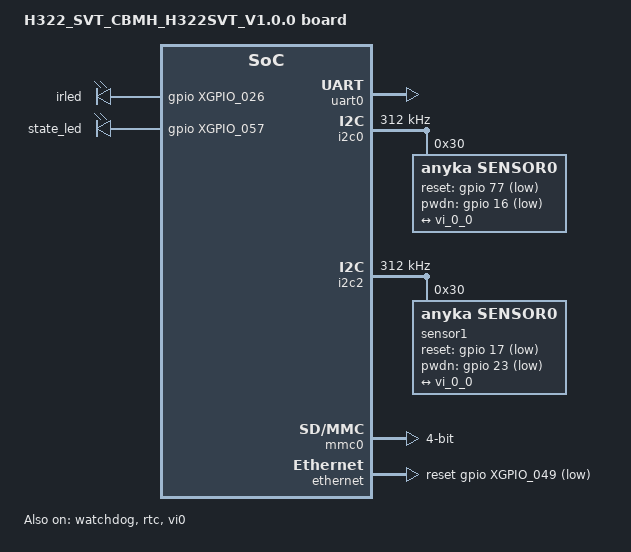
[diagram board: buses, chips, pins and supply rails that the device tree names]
/*
 * Anycloud37e dev board dts
 *
 * Copyright (C) 2020 Anyka(Guangzhou) Microelectronics Technology Co., Ltd.
 *
 * This program is free software; you can redistribute it and/or modify
 * it under the terms of the GNU General Public License as published by
 * the Free Software Foundation; either version 2 of the License, or
 * (at your option) any later version.
 *
 * This program is distributed in the hope that it will be useful,
 * but WITHOUT ANY WARRANTY; without even the implied warranty of
 * MERCHANTABILITY or FITNESS FOR A PARTICULAR PURPOSE.  See the
 * GNU General Public License for more details.
 */

/dts-v1/;
#include "anycloud_ak3918av100x.dtsi"
#include "anycloud_norflash.dtsi"
#include "anycloud_nandflash.dtsi"

/ {
    compatible = "anyka,ak3918av100";
    model = "H322_SVT_CBMH_H322SVT_V1.0.0 board";
    version = "V1.0.00";
};

&gpio {
    /*
    * "anyka,function": func index, please refer to dt-bindings/pinctrl/ak3918av100_pinctrl.h
    * "anyka,pull": configuration of the pins
    * bit[7:0]: pull up/down configuration
    *     bit[0]: pull up or pull down selection, 1 means select pull down, 0 means select pull up
    *     bit[4]: pull up or pull down enable, 1 means enable pull up&down function, 0 means disable fuction
    * !!! Notice that not all pin support pull up and pull down. Please refer to the programer's guide.
    * bit[11:8]: driver strength configuration.
    *     bit[9:8] drive strength.
    * bit[12:15] gpio direction
    *     bit[12]: direction. 0 is output, 1 is input
    *     bit[15]: enable direction. 1 is enable
    * bit[19:16]: input enable configuration
    *     bit[16]: 1 means enable input, 0 means disable input.
    * bit[20-23]: gpio output level
    *     bit[20]: 0 is low level, 1 is high level
    *     bit[23]: enable gpio output level. 1 is enable
    * bit[31:24]: pin slew rate configuration
    *     bit[24]: 1 means enable slew rate, 0 means disable slew rate.
    * !!! Notice OTHER bits which not mentioned please set to 0.
    */

    i2c0_pins: i2c0_pins {
        anyka,pins = <XGPIO_020 XGPIO_021>;
        anyka,function = <XGPIO_020_FUNC_TWI0_SDA XGPIO_021_FUNC_TWI0_SCL>;
        anyka,pull = <0x1010010>;
    };

    i2c2_pins: i2c2_pins {
        anyka,pins = <XGPIO_018 XGPIO_019>;
        anyka,function = <XGPIO_018_FUNC_TWI2_SCL XGPIO_019_FUNC_TWI2_SDA>;
        anyka,pull = <0x1010010>;
    };

    i2s_pins: i2s_pins {
        anyka,pins = <XGPIO_063
                        XGPIO_060
                        XGPIO_061
                        XGPIO_062
                        XGPIO_064>;
        anyka,function = <XGPIO_063_FUNC_I2S_DOUT
                            XGPIO_060_FUNC_I2S_MCLK
                            XGPIO_061_FUNC_I2S_BCLK
                            XGPIO_062_FUNC_I2S_LRCLK
                            XGPIO_064_FUNC_I2S_DIN>;
        anyka,pull = <0x01010000>;
    };

    ethernet_rmii0_rst_pins: ethernet_rmii0_rst_pins {
        anyka,pins = <XGPIO_064>;
        anyka,function = <XGPIO_064_FUNC_GPIO64>;
        anyka,pull = <0x00010010>;
    };

    dvp0_12bits_pins: dvp0_12bits_pins {
        anyka,pins = <XGPIO_022
                         XGPIO_100
                         XGPIO_009
                         XGPIO_010
                         XGPIO_075
                         XGPIO_073
                         XGPIO_074
                         XGPIO_020
                         XGPIO_072
                         XGPIO_079
                         XGPIO_078
                         XGPIO_099
                         XGPIO_102
                         XGPIO_101
                         XGPIO_103
                         XGPIO_104>;
        anyka,function = <XGPIO_022_FUNC_CSI0_SCLK
                            XGPIO_100_FUNC_CSI_CLK
                            XGPIO_009_FUNC_CSI_HSYNC
                            XGPIO_010_FUNC_CSI_VSYNC
                            XGPIO_075_FUNC_CSI_D0
                            XGPIO_073_FUNC_CSI_D1
                            XGPIO_074_FUNC_CSI_D2
                            XGPIO_020_FUNC_CSI_D3
                            XGPIO_072_FUNC_CSI_D4
                            XGPIO_079_FUNC_CSI_D5
                            XGPIO_078_FUNC_CSI_D6
                            XGPIO_099_FUNC_CSI_D7
                            XGPIO_102_FUNC_CSI_D8
                            XGPIO_101_FUNC_CSI_D9
                            XGPIO_103_FUNC_CSI_D10
                            XGPIO_104_FUNC_CSI_D11>;
        anyka,pull = <0x01010010>;
    };

    dvp0_10bits_pins: dvp0_10bits_pins {
        anyka,pins = <XGPIO_022
                         XGPIO_100
                         XGPIO_009
                         XGPIO_010
                         XGPIO_075
                         XGPIO_073
                         XGPIO_074
                         XGPIO_020
                         XGPIO_072
                         XGPIO_079
                         XGPIO_078
                         XGPIO_099
                         XGPIO_102
                         XGPIO_101>;
        anyka,function = <XGPIO_022_FUNC_CSI0_SCLK
                            XGPIO_100_FUNC_CSI_CLK
                            XGPIO_009_FUNC_CSI_HSYNC
                            XGPIO_010_FUNC_CSI_VSYNC
                            XGPIO_075_FUNC_CSI_D0
                            XGPIO_073_FUNC_CSI_D1
                            XGPIO_074_FUNC_CSI_D2
                            XGPIO_020_FUNC_CSI_D3
                            XGPIO_072_FUNC_CSI_D4
                            XGPIO_079_FUNC_CSI_D5
                            XGPIO_078_FUNC_CSI_D6
                            XGPIO_099_FUNC_CSI_D7
                            XGPIO_102_FUNC_CSI_D8
                            XGPIO_101_FUNC_CSI_D9>;
        anyka,pull = <0x01010010>;
    };

    dvp0_8bits_pins: dvp0_8bits_pins {
        anyka,pins = <XGPIO_022
                         XGPIO_100
                         XGPIO_009
                         XGPIO_010
                         XGPIO_075
                         XGPIO_073
                         XGPIO_074
                         XGPIO_020
                         XGPIO_072
                         XGPIO_079
                         XGPIO_078
                         XGPIO_099>;
        anyka,function = <XGPIO_022_FUNC_CSI0_SCLK
                            XGPIO_100_FUNC_CSI_CLK
                            XGPIO_009_FUNC_CSI_HSYNC
                            XGPIO_010_FUNC_CSI_VSYNC
                            XGPIO_075_FUNC_CSI_D0
                            XGPIO_073_FUNC_CSI_D1
                            XGPIO_074_FUNC_CSI_D2
                            XGPIO_020_FUNC_CSI_D3
                            XGPIO_072_FUNC_CSI_D4
                            XGPIO_079_FUNC_CSI_D5
                            XGPIO_078_FUNC_CSI_D6
                            XGPIO_099_FUNC_CSI_D7>;
        anyka,pull = <0x01010010>;
    };

    mipi0_3lane_pins: mipi0_3lane_pins {
        anyka,pins = <XGPIO_099
                        XGPIO_100
                        XGPIO_078
                        XGPIO_079
                        XGPIO_101
                        XGPIO_102>;
        anyka,function = <XGPIO_099_FUNC_MIPI_RX_L0P
                            XGPIO_100_FUNC_MIPI_RX_L0N
                            XGPIO_078_FUNC_MIPI_RX_L1P
                            XGPIO_079_FUNC_MIPI_RX_L1N
                            XGPIO_101_FUNC_MIPI_RX_L2P
                            XGPIO_102_FUNC_MIPI_RX_L2N>;
        anyka,pull = <0x01010010>;
    };

    csi0_sclk_pin: csi0_sclk_pin {
        anyka,pins = <XGPIO_022>;
        anyka,function = <XGPIO_022_FUNC_CSI0_SCLK>;
        anyka,pull = <0x01010010>;
    };

    mipi1_3lane_pins: mipi1_3lane_pins {
        anyka,pins = <XGPIO_103
                        XGPIO_104
                        XGPIO_072
                        XGPIO_073
                        XGPIO_074
                        XGPIO_075>;
        anyka,function = <XGPIO_103_FUNC_MIPI_RX_L3P
                            XGPIO_104_FUNC_MIPI_RX_L3N
                            XGPIO_072_FUNC_MIPI_RX_L4P
                            XGPIO_073_FUNC_MIPI_RX_L4N
                            XGPIO_074_FUNC_MIPI_RX_L5P
                            XGPIO_075_FUNC_MIPI_RX_L5N>;
        anyka,pull = <0x01010010>;
    };

    csi1_sclk_pin: csi1_sclk_pin {
        anyka,pins = <XGPIO_030>;
        anyka,function = <XGPIO_030_FUNC_CSI1_SCLK>;
        anyka,pull = <0x01010010>;
    };

    infrared_led_pins: infrared_led_pins {
        anyka,pins = <XGPIO_026>;
        anyka,function = <XGPIO_026_FUNC_GPIO26>;
        anyka,pull = <0x1000010>;
    };

    state_led_pin: state_led_pin {
        anyka,pins = <XGPIO_057>;
        anyka,function = <XGPIO_057_FUNC_GPIO57>;
        anyka,pull = <0x1000010>;
    };

    sensor_reset0_pin: sensor_reset0_pin {
        anyka,pins = <XGPIO_060>;
        anyka,function = <XGPIO_060_FUNC_GPIO60>;
        anyka,pull = <0x01000010>;
    };

    sensor_reset1_pin: sensor_reset1_pin {
        anyka,pins = <XGPIO_061>;
        anyka,function = <XGPIO_061_FUNC_GPIO61>;
        anyka,pull = <0x01000010>;
    };

    sensor_powerdown0_pin: sensor_powerdown0_pin {
        anyka,pins = <XGPIO_062>;
        anyka,function = <XGPIO_062_FUNC_GPIO62>;
        anyka,pull = <0x01000010>;
    };

    sensor_powerdown1_pin: sensor_powerdown1_pin {
        anyka,pins = <XGPIO_063>;
        anyka,function = <XGPIO_063_FUNC_GPIO63>;
        anyka,pull = <0x01000010>;
    };

    sensor_pwm1_pins: sensor_pwm1_pins {
        anyka,pins = <XGPIO_054>;
        anyka,function = <XGPIO_054_FUNC_PWM_CSI1>;
        anyka,pull = <0x1000010>;
    };

    sensor_pwm0_pins: sensor_pwm0_pins {
        anyka,pins = <XGPIO_053>;
        anyka,function = <XGPIO_053_FUNC_PWM_CSI0>;
        anyka,pull = <0x1000010>;
    };

    ain0_pins: ain0_pins {
        anyka,pins = <XGPIO_071>;
        anyka,function = <XGPIO_071_FUNC_AIN0>;
        anyka,pull = <0x1010000>;
    };

    ain1_pins: ain1_pins {
        anyka,pins = <XGPIO_070>;
        anyka,function = <XGPIO_070_FUNC_AIN1>;
        anyka,pull = <0x1010000>;
    };

    hp_det_pins: hp_det_pins {
        anyka,pins = <XGPIO_050>;
        anyka,function = <XGPIO_050_FUNC_GPIO50>;
        anyka,pull = <0x1010010>;
    };

    mci0_pins: mci0_pins {
        anyka,pins = <XGPIO_036
                        XGPIO_035
                        XGPIO_034
                        XGPIO_033
                        XGPIO_032
                        XGPIO_031>;
        anyka,function = <XGPIO_036_FUNC_SDIO0_DATA1
                            XGPIO_035_FUNC_SDIO0_DATA0
                            XGPIO_034_FUNC_SDIO0_MCLK
                            XGPIO_033_FUNC_SDIO0_CMD
                            XGPIO_032_FUNC_SDIO0_DATA3
                            XGPIO_031_FUNC_SDIO0_DATA2>;
        anyka,pull = <0x1010010>;
    };

    mci0_idle_pins: mci0_idle_pins {
        anyka,pins = <XGPIO_036
                        XGPIO_035
                        XGPIO_034
                        XGPIO_033
                        XGPIO_032
                        XGPIO_031>;
        anyka,function = <XGPIO_036_FUNC_GPIO36
                            XGPIO_035_FUNC_GPIO35
                            XGPIO_034_FUNC_GPIO34
                            XGPIO_033_FUNC_GPIO33
                            XGPIO_032_FUNC_GPIO32
                            XGPIO_031_FUNC_GPIO31>;
        anyka,pull = <0x0>;
    };

    tf_det_pins: tf_det_pins {
        anyka,pins = <XGPIO_012>;
        anyka,function = <XGPIO_012_FUNC_GPIO12>;
        anyka,pull = <0x1010010>;
    };

    tf_en_pins: tf_en_pins {
        anyka,pins = <XGPIO_050>;
        anyka,function = <XGPIO_050_FUNC_GPIO50>;
        anyka,pull = <0x1010010>;
    };
};

&uart0 {
    pinctrl-names = "default";
    pinctrl-0 = <&uart0_pins>;
    status = "okay";
};


&watchdog {
    status = "okay";
};

&rtc {
    /*
     * rtc osc_source_select, 1 means INTERNAL RC OSC, 0 means EXTERNAL XTAL
     * if internal RC OSC is used to generate 32KH,time adjustment should be setting.(basic unit: ms)
     */
    osc-select = <1>;
    status = "okay";
};

&vi0{
   pinctrl-names = "dvp0_12bits", "dvp0_10bits", "dvp0_8bits",
       "mipi0_2lane", "mipi0_1lane",
       "csi0_sclk", "csi1_sclk",
       "dvp1_12bits", "dvp1_10bits", "dvp1_8bits";
    pinctrl-0 = <&dvp0_12bits_pins>;
    pinctrl-1 = <&dvp0_10bits_pins>;
    pinctrl-2 = <&dvp0_8bits_pins>;
    pinctrl-3 = <&mipi0_3lane_pins>;
    pinctrl-4 = <&mipi1_3lane_pins>;
    pinctrl-5 = <&csi0_sclk_pin>;
    pinctrl-6 = <&csi1_sclk_pin>;
    pinctrl-7 = <&dvp0_12bits_pins>;
    pinctrl-8 = <&dvp0_10bits_pins>;
    pinctrl-9 = <&dvp0_8bits_pins>;
    status = "okay";

	port@0 {
		#address-cells = <1>;
		#size-cells = <0>;

		vi_0_0: endpoint@0 {
			reg = <0>;
			remote-endpoint = <&sensor0_0>;
		};
        vi_1_0: endpoint@1 {
			reg = <1>;
			remote-endpoint = <&sensor1_0>;
		};
	};
};

&i2c0 {
    pinctrl-names = "default";
    pinctrl-0 = <&i2c0_pins>;
    
    clock-frequency = <312000>;
    status = "okay";
	#address-cells = <1>;
	#size-cells = <0>;
    
	sensor0: camera@0x30{
		compatible = "anyka,sensor0";
		reg = <0x30>;

		/*0xffff means the gpio is invalid*/
		reset-gpio = <&gpio 77 1>;
		pwdn-gpio = <&gpio 16 1>;

		port {
			sensor0_0: endpoint@0 {
				remote-endpoint = <&vi_0_0>;
			};
		};
	};
};

&i2c2 {
    pinctrl-names = "default";
    pinctrl-0 = <&i2c2_pins>;
    
    clock-frequency = <312000>;
    status = "okay";
	#address-cells = <1>;
	#size-cells = <0>;
    
	sensor1: camera@0x30{
		compatible = "anyka,sensor0";
		reg = <0x30>;

		/*0xffff means the gpio is invalid*/
		reset-gpio = <&gpio 17 1>;
		pwdn-gpio = <&gpio 23 1>;

		port {
			sensor1_0: endpoint@0 {
				remote-endpoint = <&vi_0_0>;
			};
		};
	};
};


&leds {
    pinctrl-names = "default";
    pinctrl-0 = <&infrared_led_pins>,<&state_led_pin>;
    status = "okay";

    ir_led {
        label = "irled";
        gpios = <&gpio XGPIO_026 GPIO_ACTIVE_HIGH>;
    };

    state_led {
        label = "state_led";
        gpios = <&gpio XGPIO_057 GPIO_ACTIVE_HIGH>;
    };

};

&mmc0 {
    bus-width = <0x4>;
    max-frequency = <50000000>;
    /*
     *  detect mode:
     *  1.non-removable;
     *  2. detect-gpio/detect-gpios: card detect using gpio
     *      for example:
     *      detect-gpio = <&gpio 76 1>;  or detect-gpios = <&gpio 76 1>;
     *  3. cd_clk: card detect using MCLK
     *  4. cd_d3: card detect using D3
     *  
     *  NOTICE: 
     *  Can only set  one detect mode.
     */
    cd_clk;
    /* if support highspeed, using cap-sd-highspeed */
    cap-sd-highspeed;
    pinctrl-names = "default","idle";
    pinctrl-0 = <&mci0_pins>,<&tf_en_pins>;
    pinctrl-1 = <&mci0_idle_pins>;
    /* 
    * support tf card circuit enable function 
    */
    power-pins = <&gpio XGPIO_050 1>;      //power-pins which tf_en_pins describes
    power-inverted;
    status = "okay";  
};
/*
// mmc0 card detect using gpio 
&mmc0 {
    bus-width = <0x4>;
    max-frequency = <50000000>;
    detect-gpio = <&gpio XGPIO_012 1>; 
    cap-sd-highspeed;
    pinctrl-names = "default","idle";
    pinctrl-0 = <&mci0_pins>,<&tf_en_pins>,<&tf_det_pins>;
    pinctrl-1 = <&mci0_idle_pins>;
    
    power-pins = <&gpio XGPIO_050 1>; 
    power-inverted;
    status = "okay"; 
};
*/

&ethernet {
    pinctrl-names = "default", "c_chip";
    pinctrl-0 = <&ethernet_rmii_pins &ethernet_rst_pins>;
    pinctrl-1 = <&ethernet_rmii_pins_c_chip &ethernet_rst_pins>;
    reset-gpios = <&gpio XGPIO_049 1>;
	phy-address = <1>;
    status = "okay";
};

